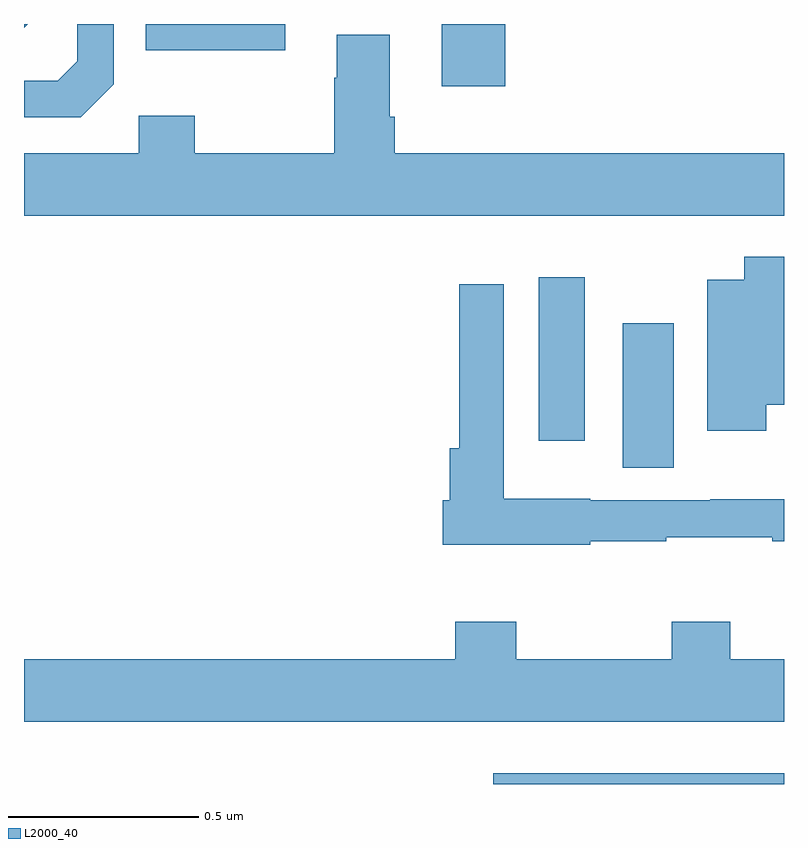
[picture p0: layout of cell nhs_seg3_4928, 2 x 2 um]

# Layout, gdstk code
import gdstk
lib = gdstk.Library(unit=1e-6, precision=1e-09)
def R(c, l, rs):  # rectangles x0, y0, x1, y1
    for r in rs: c.add(gdstk.rectangle(r[:2], r[2:], *l))
def P(c, l, *ps):  # polygons
    for p in ps: c.add(gdstk.Polygon(p, *l))
L2000_40 = (2000, 40)

nhs_seg3_4928 = lib.new_cell('nhs_seg3_4928')
R(nhs_seg3_4928, L2000_40, [(173.235,719.4,174,719.428), (173.576,720.232,173.71,720.613), (173.354,720.303,173.476,720.733), (173.099,721.236,173.267,721.4), (172.321,721.331,172.688,721.4)])
P(nhs_seg3_4928, L2000_40, [(172.01,721.4),(172,721.4),(172,721.39)],
  [(172.236,721.242),(172.236,721.4),(172.14,721.4),(172.14,721.302),(172.089,721.251),(172,721.251),(172,721.155),(172.149,721.155)],
  [(174,721.06),(172.976,721.06),(172.976,721.156),(172.963,721.156),(172.963,721.372),(172.823,721.372),(172.823,721.259),(172.816,721.259),(172.816,721.06),(172.449,721.06),(172.449,721.159),(172.302,721.159),(172.302,721.06),(172,721.06),(172,720.896),(174,720.896)],
  [(173.953,720.398),(174,720.398),(174,720.787),(173.896,720.787),(173.896,720.727),(173.798,720.727),(173.798,720.33),(173.953,720.33)],
  [(173.49,720.039),(173.69,720.039),(173.69,720.049),(173.969,720.049),(173.969,720.039),(174,720.039),(174,720.149),(173.806,720.149),(173.806,720.147),(173.49,720.147),(173.49,720.151),(173.262,720.151),(173.262,720.715),(173.146,720.715),(173.146,720.283),(173.12,720.283),(173.12,720.147),(173.102,720.147),(173.102,720.029),(173.49,720.029)],
  [(174,719.728),(173.859,719.728),(173.859,719.827),(173.704,719.827),(173.704,719.728),(173.295,719.728),(173.295,719.827),(173.135,719.827),(173.135,719.728),(172,719.728),(172,719.564),(174,719.564)])

lib.write_gds('nhs_seg3_4928.gds')
